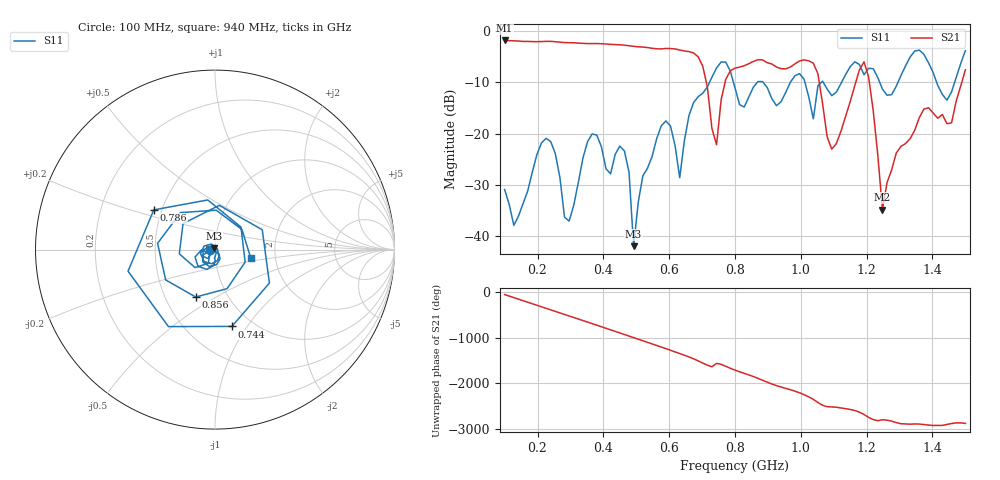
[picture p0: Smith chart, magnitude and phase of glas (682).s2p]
! NanoVNA-App
! Date: 2025-09-25 16:00:47
! Start: 100MHz Stop: 1,5GHz Points: 101
! S-Parameter data: F S11 S21 S12 S22
# Hz S RI R 50
!  Frequency  S11_Real  S11_Imag  S21_Real  S21_Imag  S12_Real  S12_Imag  S22_Real  S22_Imag
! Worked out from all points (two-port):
!   101 points, 100 MHz to 1.5 GHz, reference 50 ohm
!   highest |S21| = -1.80 dB at 100 MHz (marker M1); lowest = -34.8 dB at 1.248 GHz (marker M2)
!   |S21| within 3 dB of the highest: start of sweep to 684.5 MHz
!   lowest |S11| = -42.0 dB at 492 MHz (marker M3), VSWR 1.02, Z = 49.5 + j0.624 ohm
!   |S11| at or under -10 dB: start of sweep to 722.5 MHz; 795.4 MHz to 867.7 MHz (72.32 MHz wide, 8.7 % of centre); 885.8 MHz to 968 MHz (82.14 MHz wide, 8.86 % of centre) (the widest 3 of 7)
!   S12 and S22 are empty: the file has one direction only
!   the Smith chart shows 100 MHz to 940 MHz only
!   S11 on the Smith chart (normalised r, x): 100 MHz: 0.94, -0.01; 744 MHz: 0.80, -0.85; 786 MHz: 0.45, +0.24; 856 MHz: 0.71, -0.41; 940 MHz: 1.49, -0.15
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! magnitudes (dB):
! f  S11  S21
! 100 MHz  -30.9  -1.8
! 128 MHz  -37.9  -1.9
! 226 MHz  -20.9  -2.0
! 296 MHz  -37.1  -2.2
! 338 MHz  -24.8  -2.4
! 464 MHz  -23.4  -2.7
! 492 MHz  -42.0  -3.0
! 576 MHz  -18.5  -3.5
! 632 MHz  -28.6  -3.7
! 702 MHz  -12.1  -6.8
! 744 MHz  -7.2  -22.2
! 786 MHz  -7.8  -7.7
! 800 MHz  -11.1  -7.2
! 856 MHz  -10.9  -5.9
! 940 MHz  -13.8  -7.3
! 1.038 GHz  -17.1  -6.2
! 1.094 GHz  -12.6  -23.0
! 1.192 GHz  -8.5  -6.0
! 1.248 GHz  -11.3  -34.8
! 1.276 GHz  -12.4  -27.1
! 1.444 GHz  -13.5  -18.1
! 1.5 GHz  -3.8  -7.5
